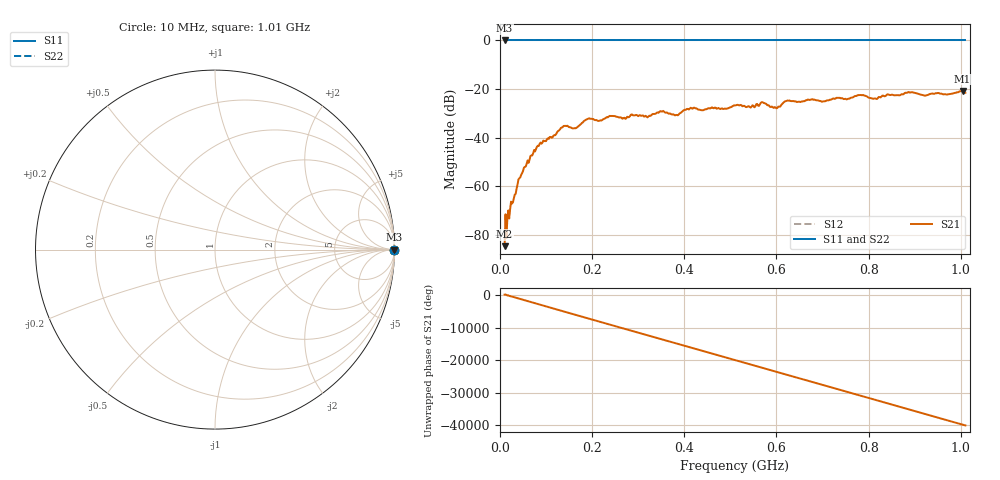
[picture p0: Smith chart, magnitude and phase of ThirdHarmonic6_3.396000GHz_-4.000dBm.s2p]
! 8/17/2025 10:50:00 AM
! C:\ANRITSUVNA\TEMP\TEMP.S2P
! CHANNEL.1
! TR.MEASUREMENT
! RAW.DATA
! RF.CORRECTION.OFF
! AVERAGING.OFF
! IF.BANDWIDTH: 5KHZ
! SWEEPTYPE:  FREQ.SWEEP(Linear)
! Reference Plane Port Info
! PORT:  PORT1  PORT2
! DISTANCE:  0  m  0  m
! TIME:  0  s  0  s
! PHASE.OFFSET:  0  deg.  0  deg.
! LOSS:  0  dB  0  dB
! REF.LOSS:  0  dB  0  dB
! REF.FREQ:  0  Hz  0  Hz
! Power Info
! POWER:  -20  dBm  -20  dBm
! EFF.POWER:  -20  dBm  -20  dBm
! SOURCE.ATTEN:  0  dB  0  dB
! TEST.ATTEN:  0  dB  0  dB
# GHZ S RI R 50.0
! FREQ.GHZ  S11RE  S11IM  S21RE  S21IM  S12RE  S12IM  S22RE  S22IM
!; PortSelection: Port_12
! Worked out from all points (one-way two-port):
!   501 points, 10 MHz to 1.01 GHz, reference 50 ohm
!   highest |S21| = -20.83 dB at 1.004 GHz (marker M1); lowest = -84.6 dB at 10 MHz (marker M2)
!   lowest |S11| = 0.0 dB at 10 MHz (marker M3)
!   |S11| at or under -10 dB: nowhere
!   |S22| runs from 0.0 to 0.0 dB; largest |S21 - S12| = 1.1
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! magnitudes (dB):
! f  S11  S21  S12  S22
! 10 MHz  0.0  -84.6  0.0  0.0
! 20 MHz  0.0  -73.2  0.0  0.0
! 42 MHz  0.0  -56.7  0.0  0.0
! 78 MHz  0.0  -44.8  0.0  0.0
! 136 MHz  0.0  -35.7  0.0  0.0
! 162 MHz  0.0  -36.1  0.0  0.0
! 178 MHz  0.0  -33.9  0.0  0.0
! 192 MHz  0.0  -32.1  0.0  0.0
! 322 MHz  0.0  -31.3  0.0  0.0
! 344 MHz  0.0  -29.7  0.0  0.0
! 384 MHz  0.0  -30.6  0.0  0.0
! 416 MHz  0.0  -27.9  0.0  0.0
! 510 MHz  0.0  -26.7  0.0  0.0
! 570 MHz  0.0  -25.4  0.0  0.0
! 598 MHz  0.0  -27.6  0.0  0.0
! 622 MHz  0.0  -24.8  0.0  0.0
! 678 MHz  0.0  -24.2  0.0  0.0
! 784 MHz  0.0  -22.5  0.0  0.0
! 814 MHz  0.0  -23.8  0.0  0.0
! 844 MHz  0.0  -22.3  0.0  0.0
! 1.004 GHz  0.0  -20.8  0.0  0.0
! 1.01 GHz  0.0  -21.5  0.0  0.0
